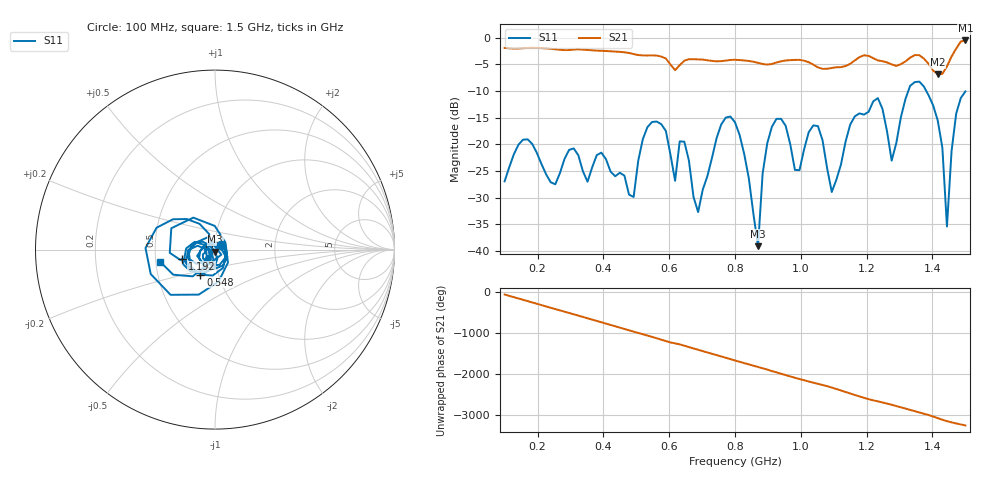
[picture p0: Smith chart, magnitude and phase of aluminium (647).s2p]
! NanoVNA-App
! Date: 2025-09-25 15:00:19
! Start: 100MHz Stop: 1,5GHz Points: 101
! S-Parameter data: F S11 S21 S12 S22
# Hz S RI R 50
!  Frequency  S11_Real  S11_Imag  S21_Real  S21_Imag  S12_Real  S12_Imag  S22_Real  S22_Imag
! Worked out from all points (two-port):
!   101 points, 100 MHz to 1.5 GHz, reference 50 ohm
!   highest |S21| = -0.52 dB at 1.5 GHz (marker M1); lowest = -6.9 dB at 1.416 GHz (marker M2)
!   |S21| within 3 dB of the highest: start of sweep to 574.5 MHz; 1.458 GHz to end of sweep (the widest 2 of 4)
!   lowest |S11| = -39.1 dB at 870 MHz (marker M3), VSWR 1.02, Z = 50.1 - j1.1 ohm
!   |S11| at or under -10 dB: start of sweep to 1.327 GHz; 1.381 GHz to end of sweep
!   S12 and S22 are empty: the file has one direction only
!   S11 on the Smith chart (normalised r, x): 100 MHz: 1.07, +0.06; 548 MHz: 0.82, -0.24; 1.192 GHz: 0.69, -0.07; 1.5 GHz: 0.53, -0.08
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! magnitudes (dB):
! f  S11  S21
! 100 MHz  -27.0  -1.9
! 156 MHz  -19.1  -2.0
! 338 MHz  -25.1  -2.2
! 492 MHz  -29.9  -3.1
! 548 MHz  -15.8  -3.3
! 576 MHz  -16.2  -3.5
! 646 MHz  -19.5  -4.3
! 688 MHz  -32.7  -4.1
! 800 MHz  -15.9  -4.1
! 870 MHz  -39.1  -4.7
! 912 MHz  -16.7  -4.9
! 996 MHz  -24.9  -4.2
! 1.038 GHz  -16.5  -5.1
! 1.094 GHz  -29.0  -5.7
! 1.192 GHz  -14.4  -3.3
! 1.234 GHz  -11.3  -4.3
! 1.276 GHz  -23.1  -5.0
! 1.332 GHz  -9.0  -3.8
! 1.416 GHz  -15.5  -6.9
! 1.444 GHz  -35.4  -5.4
! 1.472 GHz  -14.3  -2.1
! 1.5 GHz  -10.1  -0.5
